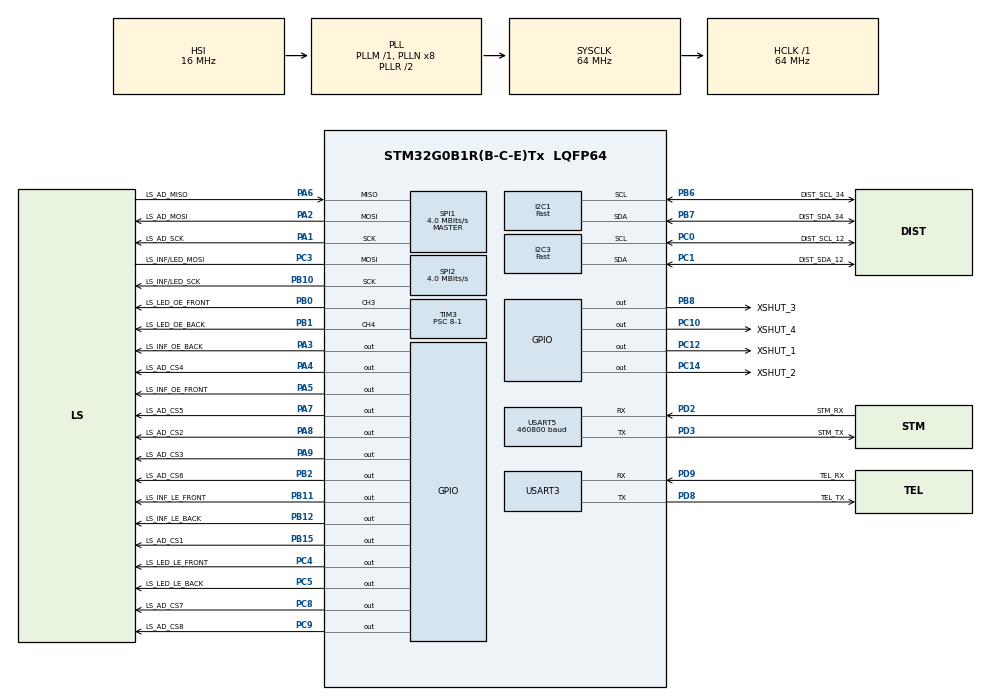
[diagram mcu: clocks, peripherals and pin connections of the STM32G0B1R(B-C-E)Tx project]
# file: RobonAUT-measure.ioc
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I2C1.CustomTiming=Disabled
I2C1.I2C_Speed_Mode=I2C_Fast
I2C1.Timing=0x00602173
I2C3.I2C_Speed_Mode=I2C_Fast
I2C3.Timing=0x00602173
Mcu.Family=STM32G0
Mcu.Name=STM32G0B1R(B-C-E)Tx
Mcu.Package=LQFP64
NVIC.USART3_4_5_6_LPUART1_IRQn=true\:0\:0\:false\:false\:true\:true\:true\:true
PA1.GPIO_Label=LS_AD_SCK
PA1.Mode=Full_Duplex_Master
PA1.Signal=SPI1_SCK
PA13.Mode=Serial_Wire
PA13.Signal=SYS_SWDIO
PA14-BOOT0.Mode=Serial_Wire
PA14-BOOT0.Signal=SYS_SWCLK
PA2.GPIO_Label=LS_AD_MOSI
PA2.Mode=Full_Duplex_Master
PA2.Signal=SPI1_MOSI
PA3.GPIO_Label=LS_INF_OE_BACK
PA3.Signal=GPIO_Output
PA4.GPIO_Label=LS_AD_CS4
PA4.Signal=GPIO_Output
PA5.GPIO_Label=LS_INF_OE_FRONT
PA5.Signal=GPIO_Output
PA6.GPIO_Label=LS_AD_MISO
PA6.Mode=Full_Duplex_Master
PA6.Signal=SPI1_MISO
PA7.GPIO_Label=LS_AD_CS5
PA7.Signal=GPIO_Output
PA8.GPIO_Label=LS_AD_CS2
PA8.Signal=GPIO_Output
PA9.GPIO_Label=LS_AD_CS3
PA9.Signal=GPIO_Output
PB0.GPIO_Label=LS_LED_OE_FRONT
PB0.Signal=S_TIM3_CH3
PB1.GPIO_Label=LS_LED_OE_BACK
PB1.Signal=S_TIM3_CH4
PB10.GPIO_Label=LS_INF/LED_SCK
PB10.Mode=Simplex_Bidirectional_Master
PB10.Signal=SPI2_SCK
PB11.GPIO_Label=LS_INF_LE_FRONT
PB11.Signal=GPIO_Output
PB12.GPIO_Label=LS_INF_LE_BACK
PB12.Signal=GPIO_Output
PB15.GPIO_Label=LS_AD_CS1
PB15.Signal=GPIO_Output
PB2.GPIO_Label=LS_AD_CS6
PB2.Signal=GPIO_Output
PB6.GPIO_Label=DIST_SCL_34
PB6.Mode=I2C
PB6.Signal=I2C1_SCL
PB7.GPIO_Label=DIST_SDA_34
PB7.Mode=I2C
PB7.Signal=I2C1_SDA
PB8.GPIO_Label=XSHUT_3
PB8.Signal=GPIO_Output
PC0.GPIO_Label=DIST_SCL_12
PC0.Mode=I2C
PC0.Signal=I2C3_SCL
PC1.GPIO_Label=DIST_SDA_12
PC1.Mode=I2C
PC1.Signal=I2C3_SDA
PC10.GPIO_Label=XSHUT_4
PC10.Signal=GPIO_Output
PC12.GPIO_Label=XSHUT_1
PC12.Signal=GPIO_Output
PC14-OSC32_IN\ (PC14).GPIO_Label=XSHUT_2
PC14-OSC32_IN\ (PC14).Signal=GPIO_Output
PC3.GPIO_Label=LS_INF/LED_MOSI
PC3.Mode=Simplex_Bidirectional_Master
PC3.Signal=SPI2_MOSI
PC4.GPIO_Label=LS_LED_LE_FRONT
PC4.Signal=GPIO_Output
PC5.GPIO_Label=LS_LED_LE_BACK
PC5.Signal=GPIO_Output
PC8.GPIO_Label=LS_AD_CS7
PC8.Signal=GPIO_Output
PC9.GPIO_Label=LS_AD_CS8
PC9.Signal=GPIO_Output
PD2.GPIO_Label=STM_RX
PD2.Mode=Asynchronous
PD2.Signal=USART5_RX
PD3.GPIO_Label=STM_TX
PD3.Mode=Asynchronous
PD3.Signal=USART5_TX
PD8.GPIO_Label=TEL_TX
PD8.Mode=Asynchronous
PD8.Signal=USART3_TX
PD9.GPIO_Label=TEL_RX
PD9.Mode=Asynchronous
PD9.Signal=USART3_RX
PF0-OSC_IN\ (PF0).Mode=HSE-External-Oscillator
PF0-OSC_IN\ (PF0).Signal=RCC_OSC_IN
PF1-OSC_OUT\ (PF1).Mode=HSE-External-Oscillator
PF1-OSC_OUT\ (PF1).Signal=RCC_OSC_OUT
ProjectManager.HeapSize=0x200
ProjectManager.StackSize=0x400
ProjectManager.TargetToolchain=STM32CubeIDE
RCC.ADCFreq_Value=64000000
RCC.AHBFreq_Value=64000000
RCC.CortexFreq_Value=64000000
RCC.EXTERNAL_CLOCK_VALUE=48000
RCC.HCLKFreq_Value=64000000
RCC.HSE_VALUE=8000000
RCC.HSI48_VALUE=48000000
RCC.HSI_VALUE=16000000
RCC.LSE_VALUE=32768
RCC.SYSCLKFreq_VALUE=64000000
RCC.SYSCLKSource=RCC_SYSCLKSOURCE_PLLCLK
RCC.USBFreq_Value=48000000
RCC.VCOOutputFreq_Value=128000000
SH.S_TIM3_CH3.0=TIM3_CH3,PWM Generation3 CH3
SH.S_TIM3_CH4.0=TIM3_CH4,PWM Generation4 CH4
SPI1.BaudRatePrescaler=SPI_BAUDRATEPRESCALER_16
SPI1.CLKPolarity=SPI_POLARITY_LOW
SPI1.CalculateBaudRate=4.0 MBits/s
SPI1.DataSize=SPI_DATASIZE_8BIT
SPI1.Direction=SPI_DIRECTION_2LINES
SPI1.Mode=SPI_MODE_MASTER
SPI1.VirtualType=VM_MASTER
SPI2.BaudRatePrescaler=SPI_BAUDRATEPRESCALER_16
SPI2.CalculateBaudRate=4.0 MBits/s
SPI2.Direction=SPI_DIRECTION_1LINE
SPI2.Mode=SPI_MODE_MASTER
SPI2.VirtualType=VM_MASTER
TIM2.AutoReloadPreload=TIM_AUTORELOAD_PRELOAD_ENABLE
TIM2.Prescaler=64000-1
TIM3.AutoReloadPreload=TIM_AUTORELOAD_PRELOAD_ENABLE
TIM3.Channel-PWM\ Generation3\ CH3=TIM_CHANNEL_3
TIM3.Channel-PWM\ Generation4\ CH4=TIM_CHANNEL_4
TIM3.OCPolarity_3=TIM_OCPOLARITY_LOW
TIM3.OCPolarity_4=TIM_OCPOLARITY_LOW
TIM3.Period=60000-1
TIM3.Prescaler=8-1
TIM3.Pulse-PWM\ Generation3\ CH3=3000-1
TIM3.Pulse-PWM\ Generation4\ CH4=3000-1
TIM6.AutoReloadPreload=TIM_AUTORELOAD_PRELOAD_ENABLE
TIM6.Prescaler=64-1
USART3.VirtualMode-Asynchronous=VM_ASYNC
USART5.BaudRate=460800
USART5.VirtualMode-Asynchronous=VM_ASYNC
VP_SYS_VS_DBSignals.Mode=DisableDeadBatterySignals
VP_TIM2_VS_ClockSourceINT.Mode=Internal
VP_TIM6_VS_ClockSourceINT.Mode=Enable_Timer
board=custom

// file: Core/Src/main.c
/* USER CODE BEGIN Header */
/**
  ******************************************************************************
  * @file           : main.c
  * @brief          : Main program body
  ******************************************************************************
  * @attention
  *
  * <h2><center>&copy; Copyright (c) 2022 STMicroelectronics.
  * All rights reserved.</center></h2>
  *
  * This software component is licensed by ST under BSD 3-Clause license,
  * the "License"; You may not use this file except in compliance with the
  * License. You may obtain a copy of the License at:
  *                        opensource.org/licenses/BSD-3-Clause
  *
  ******************************************************************************
  */
/* USER CODE END Header */
#include "main.h"

/* USER CODE BEGIN Includes */
#include <string.h>
#include "configG0.h"
#include "line_sensor.h"
#include "tof.h"
/* USER CODE END Includes */

I2C_HandleTypeDef hi2c1;
I2C_HandleTypeDef hi2c3;

SPI_HandleTypeDef hspi1;
SPI_HandleTypeDef hspi2;

TIM_HandleTypeDef htim2;
TIM_HandleTypeDef htim3;
TIM_HandleTypeDef htim6;

UART_HandleTypeDef huart3;
UART_HandleTypeDef huart5;

void SystemClock_Config(void);
static void MX_GPIO_Init(void);
static void MX_SPI1_Init(void);
static void MX_SPI2_Init(void);
static void MX_TIM2_Init(void);
static void MX_I2C3_Init(void);
static void MX_USART3_UART_Init(void);
static void MX_USART5_UART_Init(void);
static void MX_TIM3_Init(void);
static void MX_TIM6_Init(void);
static void MX_I2C1_Init(void);

int main(void)
{
  /* USER CODE BEGIN 1 */

	 uint16_t timer_val;
	 uint8_t uart_buf[15];
  /* USER CODE END 1 */

  /* MCU Configuration--------------------------------------------------------*/

  /* Reset of all peripherals, Initializes the Flash interface and the Systick. */
  HAL_Init();

  /* Configure the system clock */
  SystemClock_Config();

  /* Initialize all configured peripherals */
  MX_GPIO_Init();
  MX_SPI1_Init();
  MX_SPI2_Init();
  MX_TIM2_Init();
  MX_I2C3_Init();
  MX_USART3_UART_Init();
  MX_USART5_UART_Init();
  MX_TIM3_Init();
  MX_TIM6_Init();
  MX_I2C1_Init();
  /* USER CODE BEGIN 2 */
  Line_Sensor_Init(&htim3);
  G0_Basic_Init(&htim2,&huart5, &huart3);
  Tof_Init(&hi2c3, &hi2c1, 20);

  //HAL_TIM_Base_Start(&htim6);

  /* USER CODE END 2 */

  /* Infinite loop */
  /* USER CODE BEGIN WHILE */
  while (1)
  {

/*
	  TIM6->CNT=0;
	  timer_val= __HAL_TIM_GET_COUNTER(&htim6);
*/
	  Line_Sensor_Read_Task(&hspi2,&hspi1,&huart3, TICK, 0);
	  Tof_Task(&hi2c3, &huart3, TICK, 20);

/*
	  timer_val= __HAL_TIM_GET_COUNTER(&htim6)-timer_val;
	  sprintf(uart_buf,"%d us\n\r ", timer_val);
	  HAL_UART_Transmit(&huart3, uart_buf,strlen(uart_buf), 10);
	  HAL_Delay(1000);
*/
    /* USER CODE END WHILE */

  }
}

void SystemClock_Config(void)
{
  RCC_OscInitTypeDef RCC_OscInitStruct = {0};
  RCC_ClkInitTypeDef RCC_ClkInitStruct = {0};

  /** Configure the main internal regulator output voltage
  */
  HAL_PWREx_ControlVoltageScaling(PWR_REGULATOR_VOLTAGE_SCALE1);

  /** Initializes the RCC Oscillators according to the specified parameters
  * in the RCC_OscInitTypeDef structure.
  */
  RCC_OscInitStruct.OscillatorType = RCC_OSCILLATORTYPE_HSI;
  RCC_OscInitStruct.HSIState = RCC_HSI_ON;
  RCC_OscInitStruct.HSIDiv = RCC_HSI_DIV1;
  RCC_OscInitStruct.HSICalibrationValue = RCC_HSICALIBRATION_DEFAULT;
  RCC_OscInitStruct.PLL.PLLState = RCC_PLL_ON;
  RCC_OscInitStruct.PLL.PLLSource = RCC_PLLSOURCE_HSI;
  RCC_OscInitStruct.PLL.PLLM = RCC_PLLM_DIV1;
  RCC_OscInitStruct.PLL.PLLN = 8;
  RCC_OscInitStruct.PLL.PLLP = RCC_PLLP_DIV2;
  RCC_OscInitStruct.PLL.PLLQ = RCC_PLLQ_DIV2;
  RCC_OscInitStruct.PLL.PLLR = RCC_PLLR_DIV2;
  if (HAL_RCC_OscConfig(&RCC_OscInitStruct) != HAL_OK)
  {
    Error_Handler();
  }

  /** Initializes the CPU, AHB and APB buses clocks
  */
  RCC_ClkInitStruct.ClockType = RCC_CLOCKTYPE_HCLK|RCC_CLOCKTYPE_SYSCLK
                              |RCC_CLOCKTYPE_PCLK1;
  RCC_ClkInitStruct.SYSCLKSource = RCC_SYSCLKSOURCE_PLLCLK;
  RCC_ClkInitStruct.AHBCLKDivider = RCC_SYSCLK_DIV1;
  RCC_ClkInitStruct.APB1CLKDivider = RCC_HCLK_DIV1;

  if (HAL_RCC_ClockConfig(&RCC_ClkInitStruct, FLASH_LATENCY_2) != HAL_OK)
  {
    Error_Handler();
  }
}

static void MX_I2C1_Init(void)
{

  hi2c1.Instance = I2C1;
  hi2c1.Init.Timing = 0x00602173;
  hi2c1.Init.OwnAddress1 = 0;
  hi2c1.Init.AddressingMode = I2C_ADDRESSINGMODE_7BIT;
  hi2c1.Init.DualAddressMode = I2C_DUALADDRESS_DISABLE;
  hi2c1.Init.OwnAddress2 = 0;
  hi2c1.Init.OwnAddress2Masks = I2C_OA2_NOMASK;
  hi2c1.Init.GeneralCallMode = I2C_GENERALCALL_DISABLE;
  hi2c1.Init.NoStretchMode = I2C_NOSTRETCH_DISABLE;
  if (HAL_I2C_Init(&hi2c1) != HAL_OK)
  {
    Error_Handler();
  }

  /** Configure Analogue filter
  */
  if (HAL_I2CEx_ConfigAnalogFilter(&hi2c1, I2C_ANALOGFILTER_ENABLE) != HAL_OK)
  {
    Error_Handler();
  }

  /** Configure Digital filter
  */
  if (HAL_I2CEx_ConfigDigitalFilter(&hi2c1, 0) != HAL_OK)
  {
    Error_Handler();
  }

}

static void MX_I2C3_Init(void)
{

  hi2c3.Instance = I2C3;
  hi2c3.Init.Timing = 0x00602173;
  hi2c3.Init.OwnAddress1 = 0;
  hi2c3.Init.AddressingMode = I2C_ADDRESSINGMODE_7BIT;
  hi2c3.Init.DualAddressMode = I2C_DUALADDRESS_DISABLE;
  hi2c3.Init.OwnAddress2 = 0;
  hi2c3.Init.OwnAddress2Masks = I2C_OA2_NOMASK;
  hi2c3.Init.GeneralCallMode = I2C_GENERALCALL_DISABLE;
  hi2c3.Init.NoStretchMode = I2C_NOSTRETCH_DISABLE;
  if (HAL_I2C_Init(&hi2c3) != HAL_OK)
  {
    Error_Handler();
  }

  /** Configure Analogue filter
  */
  if (HAL_I2CEx_ConfigAnalogFilter(&hi2c3, I2C_ANALOGFILTER_ENABLE) != HAL_OK)
  {
    Error_Handler();
  }

  /** Configure Digital filter
  */
  if (HAL_I2CEx_ConfigDigitalFilter(&hi2c3, 0) != HAL_OK)
  {
    Error_Handler();
  }

}

static void MX_SPI1_Init(void)
{

  /* SPI1 parameter configuration*/
  hspi1.Instance = SPI1;
  hspi1.Init.Mode = SPI_MODE_MASTER;
  hspi1.Init.Direction = SPI_DIRECTION_2LINES;
  hspi1.Init.DataSize = SPI_DATASIZE_8BIT;
  hspi1.Init.CLKPolarity = SPI_POLARITY_LOW;
  hspi1.Init.CLKPhase = SPI_PHASE_1EDGE;
  hspi1.Init.NSS = SPI_NSS_SOFT;
  hspi1.Init.BaudRatePrescaler = SPI_BAUDRATEPRESCALER_16;
  hspi1.Init.FirstBit = SPI_FIRSTBIT_MSB;
  hspi1.Init.TIMode = SPI_TIMODE_DISABLE;
  hspi1.Init.CRCCalculation = SPI_CRCCALCULATION_DISABLE;
  hspi1.Init.CRCPolynomial = 7;
  hspi1.Init.CRCLength = SPI_CRC_LENGTH_DATASIZE;
  hspi1.Init.NSSPMode = SPI_NSS_PULSE_ENABLE;
  if (HAL_SPI_Init(&hspi1) != HAL_OK)
  {
    Error_Handler();
  }

}

static void MX_SPI2_Init(void)
{

  /* SPI2 parameter configuration*/
  hspi2.Instance = SPI2;
  hspi2.Init.Mode = SPI_MODE_MASTER;
  hspi2.Init.Direction = SPI_DIRECTION_1LINE;
  hspi2.Init.DataSize = SPI_DATASIZE_8BIT;
  hspi2.Init.CLKPolarity = SPI_POLARITY_LOW;
  hspi2.Init.CLKPhase = SPI_PHASE_1EDGE;
  hspi2.Init.NSS = SPI_NSS_SOFT;
  hspi2.Init.BaudRatePrescaler = SPI_BAUDRATEPRESCALER_16;
  hspi2.Init.FirstBit = SPI_FIRSTBIT_MSB;
  hspi2.Init.TIMode = SPI_TIMODE_DISABLE;
  hspi2.Init.CRCCalculation = SPI_CRCCALCULATION_DISABLE;
  hspi2.Init.CRCPolynomial = 7;
  hspi2.Init.CRCLength = SPI_CRC_LENGTH_DATASIZE;
  hspi2.Init.NSSPMode = SPI_NSS_PULSE_ENABLE;
  if (HAL_SPI_Init(&hspi2) != HAL_OK)
  {
    Error_Handler();
  }

}

static void MX_TIM2_Init(void)
{

  TIM_ClockConfigTypeDef sClockSourceConfig = {0};
  TIM_MasterConfigTypeDef sMasterConfig = {0};

  htim2.Instance = TIM2;
  htim2.Init.Prescaler = 64000-1;
  htim2.Init.CounterMode = TIM_COUNTERMODE_UP;
  htim2.Init.Period = 4294967295;
  htim2.Init.ClockDivision = TIM_CLOCKDIVISION_DIV1;
  htim2.Init.AutoReloadPreload = TIM_AUTORELOAD_PRELOAD_ENABLE;
  if (HAL_TIM_Base_Init(&htim2) != HAL_OK)
  {
    Error_Handler();
  }
  sClockSourceConfig.ClockSource = TIM_CLOCKSOURCE_INTERNAL;
  if (HAL_TIM_ConfigClockSource(&htim2, &sClockSourceConfig) != HAL_OK)
  {
    Error_Handler();
  }
  sMasterConfig.MasterOutputTrigger = TIM_TRGO_RESET;
  sMasterConfig.MasterSlaveMode = TIM_MASTERSLAVEMODE_DISABLE;
  if (HAL_TIMEx_MasterConfigSynchronization(&htim2, &sMasterConfig) != HAL_OK)
  {
    Error_Handler();
  }

}

static void MX_TIM3_Init(void)
{

  TIM_MasterConfigTypeDef sMasterConfig = {0};
  TIM_OC_InitTypeDef sConfigOC = {0};

  htim3.Instance = TIM3;
  htim3.Init.Prescaler = 8-1;
  htim3.Init.CounterMode = TIM_COUNTERMODE_UP;
  htim3.Init.Period = 60000-1;
  htim3.Init.ClockDivision = TIM_CLOCKDIVISION_DIV1;
  htim3.Init.AutoReloadPreload = TIM_AUTORELOAD_PRELOAD_ENABLE;
  if (HAL_TIM_PWM_Init(&htim3) != HAL_OK)
  {
    Error_Handler();
  }
  sMasterConfig.MasterOutputTrigger = TIM_TRGO_RESET;
  sMasterConfig.MasterSlaveMode = TIM_MASTERSLAVEMODE_DISABLE;
  if (HAL_TIMEx_MasterConfigSynchronization(&htim3, &sMasterConfig) != HAL_OK)
  {
    Error_Handler();
  }
  sConfigOC.OCMode = TIM_OCMODE_PWM1;
  sConfigOC.Pulse = 3000-1;
  sConfigOC.OCPolarity = TIM_OCPOLARITY_LOW;
  sConfigOC.OCFastMode = TIM_OCFAST_DISABLE;
  if (HAL_TIM_PWM_ConfigChannel(&htim3, &sConfigOC, TIM_CHANNEL_3) != HAL_OK)
  {
    Error_Handler();
  }
  if (HAL_TIM_PWM_ConfigChannel(&htim3, &sConfigOC, TIM_CHANNEL_4) != HAL_OK)
  {
    Error_Handler();
  }
  /* USER CODE BEGIN TIM3_Init 2 */
  sConfigOC.Pulse = (int) (htim3.Init.Period+1)*LS_OE_DUTY_CYCLE / 100 - 1;
  HAL_TIM_PWM_ConfigChannel(&htim3, &sConfigOC, TIM_CHANNEL_3);
  HAL_TIM_PWM_ConfigChannel(&htim3, &sConfigOC, TIM_CHANNEL_4);
  /* USER CODE END TIM3_Init 2 */
  HAL_TIM_MspPostInit(&htim3);

}

static void MX_TIM6_Init(void)
{

  TIM_MasterConfigTypeDef sMasterConfig = {0};

  htim6.Instance = TIM6;
  htim6.Init.Prescaler = 64-1;
  htim6.Init.CounterMode = TIM_COUNTERMODE_UP;
  htim6.Init.Period = 65535;
  htim6.Init.AutoReloadPreload = TIM_AUTORELOAD_PRELOAD_ENABLE;
  if (HAL_TIM_Base_Init(&htim6) != HAL_OK)
  {
    Error_Handler();
  }
  sMasterConfig.MasterOutputTrigger = TIM_TRGO_RESET;
  sMasterConfig.MasterSlaveMode = TIM_MASTERSLAVEMODE_DISABLE;
  if (HAL_TIMEx_MasterConfigSynchronization(&htim6, &sMasterConfig) != HAL_OK)
  {
    Error_Handler();
  }

}

static void MX_USART3_UART_Init(void)
{

  huart3.Instance = USART3;
  huart3.Init.BaudRate = 115200;
  huart3.Init.WordLength = UART_WORDLENGTH_8B;
  huart3.Init.StopBits = UART_STOPBITS_1;
  huart3.Init.Parity = UART_PARITY_NONE;
  huart3.Init.Mode = UART_MODE_TX_RX;
  huart3.Init.HwFlowCtl = UART_HWCONTROL_NONE;
  huart3.Init.OverSampling = UART_OVERSAMPLING_16;
  huart3.Init.OneBitSampling = UART_ONE_BIT_SAMPLE_DISABLE;
  huart3.Init.ClockPrescaler = UART_PRESCALER_DIV1;
  huart3.AdvancedInit.AdvFeatureInit = UART_ADVFEATURE_NO_INIT;
  if (HAL_UART_Init(&huart3) != HAL_OK)
  {
    Error_Handler();
  }
  if (HAL_UARTEx_SetTxFifoThreshold(&huart3, UART_TXFIFO_THRESHOLD_1_8) != HAL_OK)
  {
    Error_Handler();
  }
  if (HAL_UARTEx_SetRxFifoThreshold(&huart3, UART_RXFIFO_THRESHOLD_1_8) != HAL_OK)
  {
    Error_Handler();
  }
  if (HAL_UARTEx_DisableFifoMode(&huart3) != HAL_OK)
  {
    Error_Handler();
  }

}

static void MX_USART5_UART_Init(void)
{

  huart5.Instance = USART5;
  huart5.Init.BaudRate = 460800;
  huart5.Init.WordLength = UART_WORDLENGTH_8B;
  huart5.Init.StopBits = UART_STOPBITS_1;
  huart5.Init.Parity = UART_PARITY_NONE;
  huart5.Init.Mode = UART_MODE_TX_RX;
  huart5.Init.HwFlowCtl = UART_HWCONTROL_NONE;
  huart5.Init.OverSampling = UART_OVERSAMPLING_16;
  huart5.Init.OneBitSampling = UART_ONE_BIT_SAMPLE_DISABLE;
  huart5.Init.ClockPrescaler = UART_PRESCALER_DIV1;
  huart5.AdvancedInit.AdvFeatureInit = UART_ADVFEATURE_NO_INIT;
  if (HAL_UART_Init(&huart5) != HAL_OK)
  {
    Error_Handler();
  }

}

static void MX_GPIO_Init(void)
{
  GPIO_InitTypeDef GPIO_InitStruct = {0};

  /* GPIO Ports Clock Enable */
  __HAL_RCC_GPIOC_CLK_ENABLE();
  __HAL_RCC_GPIOF_CLK_ENABLE();
  __HAL_RCC_GPIOA_CLK_ENABLE();
  __HAL_RCC_GPIOB_CLK_ENABLE();
  __HAL_RCC_GPIOD_CLK_ENABLE();

  /*Configure GPIO pin Output Level */
  HAL_GPIO_WritePin(GPIOC, XSHUT_1_Pin|XSHUT_2_Pin|LS_LED_LE_FRONT_Pin|LS_LED_LE_BACK_Pin
                          |LS_AD_CS7_Pin|LS_AD_CS8_Pin|XSHUT_4_Pin, GPIO_PIN_RESET);

  /*Configure GPIO pin Output Level */
  HAL_GPIO_WritePin(GPIOA, LS_INF_OE_BACK_Pin|LS_AD_CS4_Pin|LS_INF_OE_FRONT_Pin|LS_AD_CS5_Pin
                          |LS_AD_CS2_Pin|LS_AD_CS3_Pin, GPIO_PIN_RESET);

  /*Configure GPIO pin Output Level */
  HAL_GPIO_WritePin(GPIOB, LS_AD_CS6_Pin|LS_INF_LE_FRONT_Pin|LS_INF_LE_BACK_Pin|LS_AD_CS1_Pin
                          |XSHUT_3_Pin, GPIO_PIN_RESET);

  /*Configure GPIO pins : XSHUT_1_Pin XSHUT_2_Pin LS_LED_LE_FRONT_Pin LS_LED_LE_BACK_Pin
                           LS_AD_CS7_Pin LS_AD_CS8_Pin XSHUT_4_Pin */
  GPIO_InitStruct.Pin = XSHUT_1_Pin|XSHUT_2_Pin|LS_LED_LE_FRONT_Pin|LS_LED_LE_BACK_Pin
                          |LS_AD_CS7_Pin|LS_AD_CS8_Pin|XSHUT_4_Pin;
  GPIO_InitStruct.Mode = GPIO_MODE_OUTPUT_PP;
  GPIO_InitStruct.Pull = GPIO_NOPULL;
  GPIO_InitStruct.Speed = GPIO_SPEED_FREQ_LOW;
  HAL_GPIO_Init(GPIOC, &GPIO_InitStruct);

  /*Configure GPIO pins : LS_INF_OE_BACK_Pin LS_AD_CS4_Pin LS_INF_OE_FRONT_Pin LS_AD_CS5_Pin
                           LS_AD_CS2_Pin LS_AD_CS3_Pin */
  GPIO_InitStruct.Pin = LS_INF_OE_BACK_Pin|LS_AD_CS4_Pin|LS_INF_OE_FRONT_Pin|LS_AD_CS5_Pin
                          |LS_AD_CS2_Pin|LS_AD_CS3_Pin;
  GPIO_InitStruct.Mode = GPIO_MODE_OUTPUT_PP;
  GPIO_InitStruct.Pull = GPIO_NOPULL;
  GPIO_InitStruct.Speed = GPIO_SPEED_FREQ_LOW;
  HAL_GPIO_Init(GPIOA, &GPIO_InitStruct);

  /*Configure GPIO pins : LS_AD_CS6_Pin LS_INF_LE_FRONT_Pin LS_INF_LE_BACK_Pin LS_AD_CS1_Pin
                           XSHUT_3_Pin */
  GPIO_InitStruct.Pin = LS_AD_CS6_Pin|LS_INF_LE_FRONT_Pin|LS_INF_LE_BACK_Pin|LS_AD_CS1_Pin
                          |XSHUT_3_Pin;
  GPIO_InitStruct.Mode = GPIO_MODE_OUTPUT_PP;
  GPIO_InitStruct.Pull = GPIO_NOPULL;
  GPIO_InitStruct.Speed = GPIO_SPEED_FREQ_LOW;
  HAL_GPIO_Init(GPIOB, &GPIO_InitStruct);

}

/* USER CODE BEGIN 4 */

void HAL_UART_RxCpltCallback(UART_HandleTypeDef *huart)
{
	if(rcvByteG0[0]==CMD_MODE_FAST)
	{
		mode = FAST;
		sendByteG0[7]=STOP_BYTE;
		HAL_UART_Receive_IT(huart,rcvByteG0,1);

	}
	if(rcvByteG0[0]==CMD_MODE_SKILL)
	{
		mode = SKILL;
		sendByteG0[9]=STOP_BYTE;
		HAL_UART_Receive_IT(huart,rcvByteG0,1);
	}
	else if(rcvByteG0[0]==CMD_READ_FAST)
	{
		if(mode!=FAST)
		{
			mode=FAST;
			sendByteG0[7]=STOP_BYTE;
		}
		sendByteG0[4]=tofData[0];
		sendByteG0[5]=tofData[1];
		sendByteG0[6]=tofData[3];
		HAL_UART_Transmit_IT(huart, (uint8_t*)sendByteG0, 8);
	}
	else if(rcvByteG0[0]==CMD_READ_SKILL_FORWARD || rcvByteG0[0]==CMD_READ_SKILL_REVERSE)
	{
		if(mode!=SKILL)
		{
			mode=SKILL;
			sendByteG0[9]=STOP_BYTE;
		}
		sendByteG0[6]=tofData[0];
		sendByteG0[7]=tofData[1];
		sendByteG0[8]=tofData[2];
		HAL_UART_Transmit_IT(huart, (uint8_t*)sendByteG0, 10);
	}
}
void HAL_UART_TxCpltCallback(UART_HandleTypeDef *huart)
{
	HAL_UART_Receive_IT(huart,rcvByteG0,1);
}
/* USER CODE END 4 */

void Error_Handler(void)
{
  __disable_irq();
  while (1)
  {
  }
}
